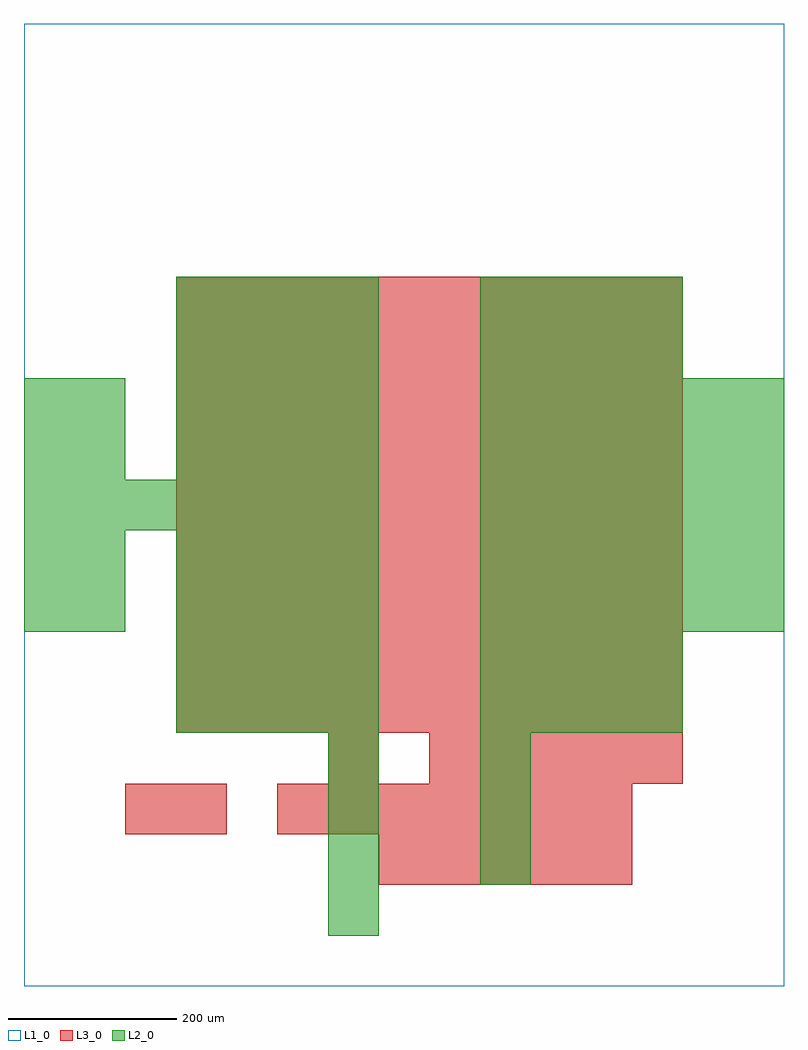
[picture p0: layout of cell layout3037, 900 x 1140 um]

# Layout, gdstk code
import gdstk
lib = gdstk.Library(unit=1e-6, precision=1e-09)
def R(c, l, rs):  # rectangles x0, y0, x1, y1
    for r in rs: c.add(gdstk.rectangle(r[:2], r[2:], *l))
def A(c, l, x, y, w, h, nx, ny, dx, dy):  # array of equal rectangles
    R(c, l, [(x+i*dx, y+j*dy, x+i*dx+w, y+j*dy+h) for i in range(nx) for j in range(ny)])
L1_0 = (1, 0)
L2_0 = (2, 0)
L3_0 = (3, 0)

layout3037 = lib.new_cell('layout3037')
R(layout3037, L1_0, [(0,0,900,1140)])
A(layout3037, L2_0, 360, 60, 60, 60, 1, 4, 0, 60)
A(layout3037, L2_0, 540, 120, 60, 60, 1, 3, 0, 60)
A(layout3037, L2_0, 180, 300, 60, 60, 4, 4, 60, 60)
A(layout3037, L2_0, 540, 300, 60, 60, 4, 2, 60, 60)
A(layout3037, L2_0, 540, 420, 60, 60, 6, 5, 60, 60)
A(layout3037, L2_0, 0, 540, 60, 60, 7, 1, 60, 0)
A(layout3037, L2_0, 180, 600, 60, 60, 4, 4, 60, 60)
A(layout3037, L2_0, 540, 720, 60, 60, 4, 2, 60, 60)
R(layout3037, L2_0, [(0,420,60,480), (60,420,120,480), (0,480,60,540), (60,480,120,540), (0,600,60,660), (60,600,120,660), (0,660,60,720), (60,660,120,720)])
A(layout3037, L3_0, 420, 120, 60, 60, 5, 1, 60, 0)
A(layout3037, L3_0, 300, 180, 60, 60, 7, 1, 60, 0)
A(layout3037, L3_0, 480, 240, 60, 60, 5, 1, 60, 0)
A(layout3037, L3_0, 180, 300, 60, 60, 10, 9, 60, 60)
R(layout3037, L3_0, [(120,180,180,240), (180,180,240,240), (360,240,420,300)])

lib.write_gds('layout3037.gds')
